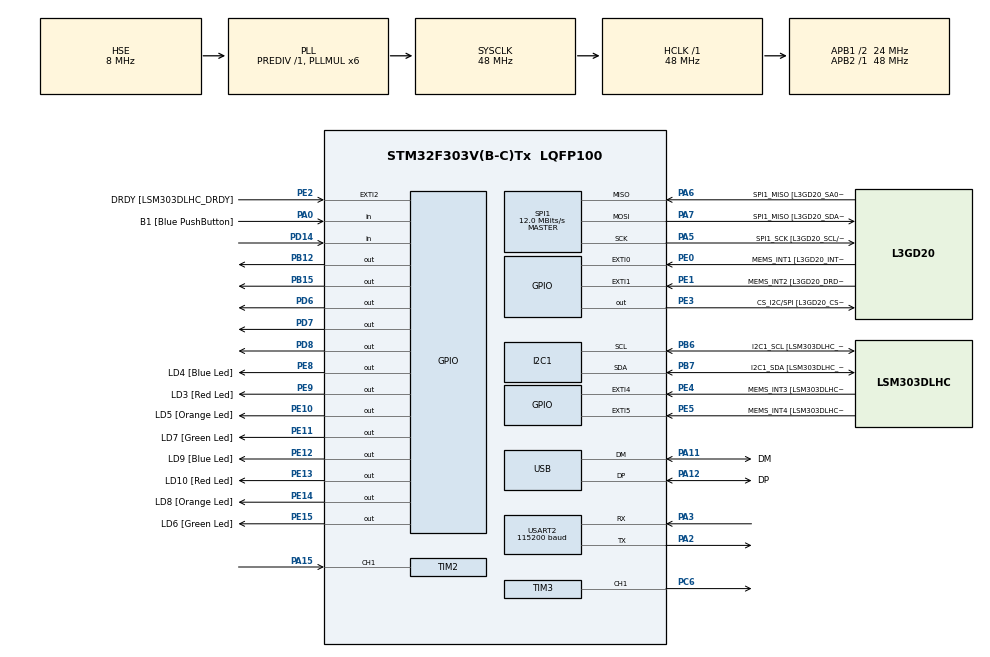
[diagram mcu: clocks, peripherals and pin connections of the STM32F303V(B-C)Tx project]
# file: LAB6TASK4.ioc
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I2C1.Timing=0x00201D2B
I2C1.Timing-I2C=0x2000090E
Mcu.Family=STM32F3
Mcu.Name=STM32F303V(B-C)Tx
Mcu.Package=LQFP100
NVIC.PriorityGroup=NVIC_PRIORITYGROUP_0
NVIC.TIM2_IRQn=true\:0\:0\:false\:false\:true\:true\:true\:true
PA0.GPIO_Label=B1 [Blue PushButton]
PA0.Signal=GPIO_Input
PA11.GPIO_Label=DM
PA11.Mode=Device
PA11.Signal=USB_DM
PA12.GPIO_Label=DP
PA12.Mode=Device
PA12.Signal=USB_DP
PA13.GPIO_Label=SWDIO
PA13.Mode=Serial_Wire
PA13.Signal=SYS_JTMS-SWDIO
PA14.GPIO_Label=SWCLK
PA14.Mode=Serial_Wire
PA14.Signal=SYS_JTCK-SWCLK
PA15.Signal=S_TIM2_CH1_ETR
PA2.Mode=Asynchronous
PA2.Signal=USART2_TX
PA3.Mode=Asynchronous
PA3.Signal=USART2_RX
PA5.GPIO_Label=SPI1_SCK [L3GD20_SCL/SPC]
PA5.Mode=Full_Duplex_Master
PA5.Signal=SPI1_SCK
PA6.GPIO_Label=SPI1_MISO [L3GD20_SA0/SDO]
PA6.Mode=Full_Duplex_Master
PA6.Signal=SPI1_MISO
PA7.GPIO_Label=SPI1_MISO [L3GD20_SDA/SDI/SDO]
PA7.Mode=Full_Duplex_Master
PA7.Signal=SPI1_MOSI
PB12.Signal=GPIO_Output
PB15.Signal=GPIO_Output
PB3.GPIO_Label=SWO
PB3.Signal=SYS_JTDO-TRACESWO
PB6.GPIO_Label=I2C1_SCL [LSM303DLHC_SCL]
PB6.GPIO_Pu=GPIO_PULLUP
PB6.Mode=I2C
PB6.Signal=I2C1_SCL
PB7.GPIO_Label=I2C1_SDA [LSM303DLHC_SDA]
PB7.GPIO_Pu=GPIO_PULLUP
PB7.Mode=I2C
PB7.Signal=I2C1_SDA
PC14-OSC32_IN.GPIO_Label=OSC32_IN
PC14-OSC32_IN.Signal=RCC_OSC32_IN
PC15-OSC32_OUT.GPIO_Label=OSC32_OUT
PC15-OSC32_OUT.Signal=RCC_OSC32_OUT
PC6.Signal=S_TIM3_CH1
PD14.Signal=GPIO_Input
PD6.Signal=GPIO_Output
PD7.Signal=GPIO_Output
PD8.Signal=GPIO_Output
PE0.GPIO_Label=MEMS_INT1 [L3GD20_INT1]
PE0.GPIO_ModeDefaultEXTI=GPIO_MODE_EVT_RISING
PE0.Signal=GPXTI0
PE1.GPIO_Label=MEMS_INT2 [L3GD20_DRDY/INT2]
PE1.GPIO_ModeDefaultEXTI=GPIO_MODE_EVT_RISING
PE1.Signal=GPXTI1
PE10.GPIO_Label=LD5 [Orange Led]
PE10.Signal=GPIO_Output
PE11.GPIO_Label=LD7 [Green Led]
PE11.Signal=GPIO_Output
PE12.GPIO_Label=LD9 [Blue Led]
PE12.Signal=GPIO_Output
PE13.GPIO_Label=LD10 [Red Led]
PE13.Signal=GPIO_Output
PE14.GPIO_Label=LD8 [Orange Led]
PE14.Signal=GPIO_Output
PE15.GPIO_Label=LD6 [Green Led]
PE15.Signal=GPIO_Output
PE2.GPIO_Label=DRDY [LSM303DLHC_DRDY]
PE2.GPIO_ModeDefaultEXTI=GPIO_MODE_EVT_RISING
PE2.Signal=GPXTI2
PE3.GPIO_Label=CS_I2C/SPI [L3GD20_CS_I2C/SPI]
PE3.Signal=GPIO_Output
PE4.GPIO_Label=MEMS_INT3 [LSM303DLHC_INT1]
PE4.GPIO_ModeDefaultEXTI=GPIO_MODE_EVT_RISING
PE4.Signal=GPXTI4
PE5.GPIO_Label=MEMS_INT4 [LSM303DLHC_INT2]
PE5.GPIO_ModeDefaultEXTI=GPIO_MODE_EVT_RISING
PE5.Signal=GPXTI5
PE8.GPIO_Label=LD4 [Blue Led]
PE8.Signal=GPIO_Output
PE9.GPIO_Label=LD3 [Red Led]
PE9.Signal=GPIO_Output
PF0-OSC_IN.GPIO_Label=OSC_IN
PF0-OSC_IN.Mode=HSE-External-Clock-Source
PF0-OSC_IN.Signal=RCC_OSC_IN
PF1-OSC_OUT.GPIO_Label=OSC_OUT
PF1-OSC_OUT.Signal=RCC_OSC_OUT
ProjectManager.HeapSize=0x200
ProjectManager.StackSize=0x400
ProjectManager.TargetToolchain=CMake
RCC.AHBFreq_Value=48000000
RCC.APB1CLKDivider=RCC_HCLK_DIV2
RCC.APB1Freq_Value=24000000
RCC.APB1TimFreq_Value=48000000
RCC.APB2Freq_Value=48000000
RCC.APB2TimFreq_Value=48000000
RCC.CortexFreq_Value=48000000
RCC.HCLKFreq_Value=48000000
RCC.HSE_VALUE=8000000
RCC.HSI_VALUE=8000000
RCC.LSE_VALUE=32768
RCC.PLLMUL=RCC_PLL_MUL6
RCC.SYSCLKFreq_VALUE=48000000
RCC.SYSCLKSourceVirtual=RCC_SYSCLKSOURCE_PLLCLK
RCC.USBFreq_Value=48000000
SH.S_TIM2_CH1_ETR.0=TIM2_CH1,Input_Capture1_from_TI1
SH.S_TIM3_CH1.0=TIM3_CH1,PWM Generation1 CH1
SPI1.BaudRatePrescaler=SPI_BAUDRATEPRESCALER_4
SPI1.BaudRatePrescaler-Full_Duplex_Master=SPI_BAUDRATEPRESCALER_2
SPI1.CalculateBaudRate=12.0 MBits/s
SPI1.CalculateBaudRate-Full_Duplex_Master=24.0 MBits/s
SPI1.Direction=SPI_DIRECTION_2LINES
SPI1.Mode=SPI_MODE_MASTER
SPI1.Mode-Full_Duplex_Master=SPI_MODE_MASTER
SPI1.VirtualType=VM_MASTER
TIM2.Channel-Input_Capture1_from_TI1=TIM_CHANNEL_1
TIM2.Period=65535
TIM3.Channel-PWM\ Generation1\ CH1=TIM_CHANNEL_1
TIM3.Period=999
TIM3.Prescaler=47
USART2.BaudRate=115200
USART2.VirtualMode-Asynchronous=VM_ASYNC
board=STM32F3DISCOVERY

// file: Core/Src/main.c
/* USER CODE BEGIN Header */
/**
  ******************************************************************************
  * @file           : main.c
  * @brief          : Main program body
  ******************************************************************************
  * @attention
  *
  * Copyright (c) 2026 STMicroelectronics.
  * All rights reserved.
  *
  * This software is licensed under terms that can be found in the LICENSE file
  * in the root directory of this software component.
  * If no LICENSE file comes with this software, it is provided AS-IS.
  *
  ******************************************************************************
  */
/* USER CODE END Header */
#include "main.h"
#include <stdio.h>

I2C_HandleTypeDef hi2c1;

SPI_HandleTypeDef hspi1;

TIM_HandleTypeDef htim2;
TIM_HandleTypeDef htim3;

UART_HandleTypeDef huart2;

PCD_HandleTypeDef hpcd_USB_FS;

/* USER CODE BEGIN PV */
uint32_t IC_Val1 = 0;
uint32_t IC_Val2 = 0;
uint32_t Difference = 0;
uint8_t Is_First_Captured = 0;

uint32_t frequency = 0;
uint32_t rpm = 0;

#define PPR 330

/* USER CODE END PV */

void SystemClock_Config(void);
static void MX_GPIO_Init(void);
static void MX_I2C1_Init(void);
static void MX_SPI1_Init(void);
static void MX_TIM2_Init(void);
static void MX_TIM3_Init(void);
static void MX_USART2_UART_Init(void);
static void MX_USB_PCD_Init(void);

/* USER CODE BEGIN 0 */
char uart_buffer[100];

int _write(int file, char *ptr, int len)
{
    HAL_UART_Transmit(&huart2, (uint8_t*)ptr, len, HAL_MAX_DELAY);
    return len;
}
/* USER CODE END 0 */

void HAL_TIM_IC_CaptureCallback(TIM_HandleTypeDef *htim)
{
  if (htim->Instance == TIM2)
  {
    if (Is_First_Captured == 0)
    {
      IC_Val1 = HAL_TIM_ReadCapturedValue(htim, TIM_CHANNEL_1);
      Is_First_Captured = 1;
    }
    else
    {
      IC_Val2 = HAL_TIM_ReadCapturedValue(htim, TIM_CHANNEL_1);

      if (IC_Val2 > IC_Val1)
        Difference = IC_Val2 - IC_Val1;
      else
        Difference = (0xFFFF - IC_Val1) + IC_Val2;

      // YOUR CLOCK IS 48 MHz
      frequency = (48000000UL / Difference) / 10;

      rpm = (60UL * frequency) / PPR;

      Is_First_Captured = 0;
    }
  }
}

int main(void)
{

  /* MCU Configuration--------------------------------------------------------*/

  /* Reset of all peripherals, Initializes the Flash interface and the Systick. */
  HAL_Init();

  /* Configure the system clock */
  SystemClock_Config();

  /* Initialize all configured peripherals */
  MX_GPIO_Init();
  MX_I2C1_Init();
  MX_SPI1_Init();
  MX_TIM2_Init();
  MX_TIM3_Init();
  MX_USART2_UART_Init();
  MX_USB_PCD_Init();
  /* USER CODE BEGIN 2 */
  // Start PWM (TIM3)
  HAL_TIM_PWM_Start(&htim3, TIM_CHANNEL_1);

  // Set initial duty cycle (50%)
  __HAL_TIM_SET_COMPARE(&htim3, TIM_CHANNEL_1, 500);

  // Start Input Capture (TIM2)
  HAL_TIM_IC_Start_IT(&htim2, TIM_CHANNEL_1);

  // Set motor direction (adjust if needed)
  HAL_GPIO_WritePin(GPIOB, GPIO_PIN_12, GPIO_PIN_SET);
  HAL_GPIO_WritePin(GPIOD, GPIO_PIN_8, GPIO_PIN_RESET);
  /* USER CODE END 2 */

  /* Infinite loop */
  while (1)
  {

    /* USER CODE BEGIN 3 */
    printf("Freq: %lu Hz | RPM: %lu\r\n", frequency, rpm);
    HAL_Delay(500);
  }
  /* USER CODE END 3 */
}

void SystemClock_Config(void)
{
  RCC_OscInitTypeDef RCC_OscInitStruct = {0};
  RCC_ClkInitTypeDef RCC_ClkInitStruct = {0};
  RCC_PeriphCLKInitTypeDef PeriphClkInit = {0};

  /** Initializes the RCC Oscillators according to the specified parameters
  * in the RCC_OscInitTypeDef structure.
  */
  RCC_OscInitStruct.OscillatorType = RCC_OSCILLATORTYPE_HSI|RCC_OSCILLATORTYPE_HSE;
  RCC_OscInitStruct.HSEState = RCC_HSE_BYPASS;
  RCC_OscInitStruct.HSEPredivValue = RCC_HSE_PREDIV_DIV1;
  RCC_OscInitStruct.HSIState = RCC_HSI_ON;
  RCC_OscInitStruct.HSICalibrationValue = RCC_HSICALIBRATION_DEFAULT;
  RCC_OscInitStruct.PLL.PLLState = RCC_PLL_ON;
  RCC_OscInitStruct.PLL.PLLSource = RCC_PLLSOURCE_HSE;
  RCC_OscInitStruct.PLL.PLLMUL = RCC_PLL_MUL6;
  if (HAL_RCC_OscConfig(&RCC_OscInitStruct) != HAL_OK)
  {
    Error_Handler();
  }

  /** Initializes the CPU, AHB and APB buses clocks
  */
  RCC_ClkInitStruct.ClockType = RCC_CLOCKTYPE_HCLK|RCC_CLOCKTYPE_SYSCLK
                              |RCC_CLOCKTYPE_PCLK1|RCC_CLOCKTYPE_PCLK2;
  RCC_ClkInitStruct.SYSCLKSource = RCC_SYSCLKSOURCE_PLLCLK;
  RCC_ClkInitStruct.AHBCLKDivider = RCC_SYSCLK_DIV1;
  RCC_ClkInitStruct.APB1CLKDivider = RCC_HCLK_DIV2;
  RCC_ClkInitStruct.APB2CLKDivider = RCC_HCLK_DIV1;

  if (HAL_RCC_ClockConfig(&RCC_ClkInitStruct, FLASH_LATENCY_1) != HAL_OK)
  {
    Error_Handler();
  }
  PeriphClkInit.PeriphClockSelection = RCC_PERIPHCLK_USB|RCC_PERIPHCLK_USART2
                              |RCC_PERIPHCLK_I2C1;
  PeriphClkInit.Usart2ClockSelection = RCC_USART2CLKSOURCE_PCLK1;
  PeriphClkInit.I2c1ClockSelection = RCC_I2C1CLKSOURCE_HSI;
  PeriphClkInit.USBClockSelection = RCC_USBCLKSOURCE_PLL;
  if (HAL_RCCEx_PeriphCLKConfig(&PeriphClkInit) != HAL_OK)
  {
    Error_Handler();
  }
}

static void MX_I2C1_Init(void)
{

  hi2c1.Instance = I2C1;
  hi2c1.Init.Timing = 0x00201D2B;
  hi2c1.Init.OwnAddress1 = 0;
  hi2c1.Init.AddressingMode = I2C_ADDRESSINGMODE_7BIT;
  hi2c1.Init.DualAddressMode = I2C_DUALADDRESS_DISABLE;
  hi2c1.Init.OwnAddress2 = 0;
  hi2c1.Init.OwnAddress2Masks = I2C_OA2_NOMASK;
  hi2c1.Init.GeneralCallMode = I2C_GENERALCALL_DISABLE;
  hi2c1.Init.NoStretchMode = I2C_NOSTRETCH_DISABLE;
  if (HAL_I2C_Init(&hi2c1) != HAL_OK)
  {
    Error_Handler();
  }

  /** Configure Analogue filter
  */
  if (HAL_I2CEx_ConfigAnalogFilter(&hi2c1, I2C_ANALOGFILTER_ENABLE) != HAL_OK)
  {
    Error_Handler();
  }

  /** Configure Digital filter
  */
  if (HAL_I2CEx_ConfigDigitalFilter(&hi2c1, 0) != HAL_OK)
  {
    Error_Handler();
  }

}

static void MX_SPI1_Init(void)
{

  /* SPI1 parameter configuration*/
  hspi1.Instance = SPI1;
  hspi1.Init.Mode = SPI_MODE_MASTER;
  hspi1.Init.Direction = SPI_DIRECTION_2LINES;
  hspi1.Init.DataSize = SPI_DATASIZE_4BIT;
  hspi1.Init.CLKPolarity = SPI_POLARITY_LOW;
  hspi1.Init.CLKPhase = SPI_PHASE_1EDGE;
  hspi1.Init.NSS = SPI_NSS_SOFT;
  hspi1.Init.BaudRatePrescaler = SPI_BAUDRATEPRESCALER_4;
  hspi1.Init.FirstBit = SPI_FIRSTBIT_MSB;
  hspi1.Init.TIMode = SPI_TIMODE_DISABLE;
  hspi1.Init.CRCCalculation = SPI_CRCCALCULATION_DISABLE;
  hspi1.Init.CRCPolynomial = 7;
  hspi1.Init.CRCLength = SPI_CRC_LENGTH_DATASIZE;
  hspi1.Init.NSSPMode = SPI_NSS_PULSE_ENABLE;
  if (HAL_SPI_Init(&hspi1) != HAL_OK)
  {
    Error_Handler();
  }

}

static void MX_TIM2_Init(void)
{

  TIM_MasterConfigTypeDef sMasterConfig = {0};
  TIM_IC_InitTypeDef sConfigIC = {0};

  htim2.Instance = TIM2;
  htim2.Init.Prescaler = 0;
  htim2.Init.CounterMode = TIM_COUNTERMODE_UP;
  htim2.Init.Period = 65535;
  htim2.Init.ClockDivision = TIM_CLOCKDIVISION_DIV1;
  htim2.Init.AutoReloadPreload = TIM_AUTORELOAD_PRELOAD_DISABLE;
  if (HAL_TIM_IC_Init(&htim2) != HAL_OK)
  {
    Error_Handler();
  }
  sMasterConfig.MasterOutputTrigger = TIM_TRGO_RESET;
  sMasterConfig.MasterSlaveMode = TIM_MASTERSLAVEMODE_DISABLE;
  if (HAL_TIMEx_MasterConfigSynchronization(&htim2, &sMasterConfig) != HAL_OK)
  {
    Error_Handler();
  }
  sConfigIC.ICPolarity = TIM_INPUTCHANNELPOLARITY_RISING;
  sConfigIC.ICSelection = TIM_ICSELECTION_DIRECTTI;
  sConfigIC.ICPrescaler = TIM_ICPSC_DIV1;
  sConfigIC.ICFilter = 0;
  if (HAL_TIM_IC_ConfigChannel(&htim2, &sConfigIC, TIM_CHANNEL_1) != HAL_OK)
  {
    Error_Handler();
  }

}

static void MX_TIM3_Init(void)
{

  TIM_MasterConfigTypeDef sMasterConfig = {0};
  TIM_OC_InitTypeDef sConfigOC = {0};

  htim3.Instance = TIM3;
  htim3.Init.Prescaler = 47;
  htim3.Init.CounterMode = TIM_COUNTERMODE_UP;
  htim3.Init.Period = 999;
  htim3.Init.ClockDivision = TIM_CLOCKDIVISION_DIV1;
  htim3.Init.AutoReloadPreload = TIM_AUTORELOAD_PRELOAD_DISABLE;
  if (HAL_TIM_PWM_Init(&htim3) != HAL_OK)
  {
    Error_Handler();
  }
  sMasterConfig.MasterOutputTrigger = TIM_TRGO_RESET;
  sMasterConfig.MasterSlaveMode = TIM_MASTERSLAVEMODE_DISABLE;
  if (HAL_TIMEx_MasterConfigSynchronization(&htim3, &sMasterConfig) != HAL_OK)
  {
    Error_Handler();
  }
  sConfigOC.OCMode = TIM_OCMODE_PWM1;
  sConfigOC.Pulse = 0;
  sConfigOC.OCPolarity = TIM_OCPOLARITY_HIGH;
  sConfigOC.OCFastMode = TIM_OCFAST_DISABLE;
  if (HAL_TIM_PWM_ConfigChannel(&htim3, &sConfigOC, TIM_CHANNEL_1) != HAL_OK)
  {
    Error_Handler();
  }
  HAL_TIM_MspPostInit(&htim3);

}

static void MX_USART2_UART_Init(void)
{

  huart2.Instance = USART2;
  huart2.Init.BaudRate = 115200;
  huart2.Init.WordLength = UART_WORDLENGTH_8B;
  huart2.Init.StopBits = UART_STOPBITS_1;
  huart2.Init.Parity = UART_PARITY_NONE;
  huart2.Init.Mode = UART_MODE_TX_RX;
  huart2.Init.HwFlowCtl = UART_HWCONTROL_NONE;
  huart2.Init.OverSampling = UART_OVERSAMPLING_16;
  huart2.Init.OneBitSampling = UART_ONE_BIT_SAMPLE_DISABLE;
  huart2.AdvancedInit.AdvFeatureInit = UART_ADVFEATURE_NO_INIT;
  if (HAL_UART_Init(&huart2) != HAL_OK)
  {
    Error_Handler();
  }

}

static void MX_USB_PCD_Init(void)
{

  hpcd_USB_FS.Instance = USB;
  hpcd_USB_FS.Init.dev_endpoints = 8;
  hpcd_USB_FS.Init.speed = PCD_SPEED_FULL;
  hpcd_USB_FS.Init.phy_itface = PCD_PHY_EMBEDDED;
  hpcd_USB_FS.Init.low_power_enable = DISABLE;
  hpcd_USB_FS.Init.battery_charging_enable = DISABLE;
  if (HAL_PCD_Init(&hpcd_USB_FS) != HAL_OK)
  {
    Error_Handler();
  }

}

static void MX_GPIO_Init(void)
{
  GPIO_InitTypeDef GPIO_InitStruct = {0};

  /* GPIO Ports Clock Enable */
  __HAL_RCC_GPIOE_CLK_ENABLE();
  __HAL_RCC_GPIOC_CLK_ENABLE();
  __HAL_RCC_GPIOF_CLK_ENABLE();
  __HAL_RCC_GPIOA_CLK_ENABLE();
  __HAL_RCC_GPIOB_CLK_ENABLE();
  __HAL_RCC_GPIOD_CLK_ENABLE();

  /*Configure GPIO pin Output Level */
  HAL_GPIO_WritePin(GPIOE, CS_I2C_SPI_Pin|LD4_Pin|LD3_Pin|LD5_Pin
                          |LD7_Pin|LD9_Pin|LD10_Pin|LD8_Pin
                          |LD6_Pin, GPIO_PIN_RESET);

  /*Configure GPIO pin Output Level */
  HAL_GPIO_WritePin(GPIOB, GPIO_PIN_12|GPIO_PIN_15, GPIO_PIN_RESET);

  /*Configure GPIO pin Output Level */
  HAL_GPIO_WritePin(GPIOD, GPIO_PIN_8|GPIO_PIN_6|GPIO_PIN_7, GPIO_PIN_RESET);

  /*Configure GPIO pins : DRDY_Pin MEMS_INT3_Pin MEMS_INT4_Pin MEMS_INT1_Pin
                           MEMS_INT2_Pin */
  GPIO_InitStruct.Pin = DRDY_Pin|MEMS_INT3_Pin|MEMS_INT4_Pin|MEMS_INT1_Pin
                          |MEMS_INT2_Pin;
  GPIO_InitStruct.Mode = GPIO_MODE_EVT_RISING;
  GPIO_InitStruct.Pull = GPIO_NOPULL;
  HAL_GPIO_Init(GPIOE, &GPIO_InitStruct);

  /*Configure GPIO pins : CS_I2C_SPI_Pin LD4_Pin LD3_Pin LD5_Pin
                           LD7_Pin LD9_Pin LD10_Pin LD8_Pin
                           LD6_Pin */
  GPIO_InitStruct.Pin = CS_I2C_SPI_Pin|LD4_Pin|LD3_Pin|LD5_Pin
                          |LD7_Pin|LD9_Pin|LD10_Pin|LD8_Pin
                          |LD6_Pin;
  GPIO_InitStruct.Mode = GPIO_MODE_OUTPUT_PP;
  GPIO_InitStruct.Pull = GPIO_NOPULL;
  GPIO_InitStruct.Speed = GPIO_SPEED_FREQ_LOW;
  HAL_GPIO_Init(GPIOE, &GPIO_InitStruct);

  /*Configure GPIO pin : B1_Pin */
  GPIO_InitStruct.Pin = B1_Pin;
  GPIO_InitStruct.Mode = GPIO_MODE_INPUT;
  GPIO_InitStruct.Pull = GPIO_NOPULL;
  HAL_GPIO_Init(B1_GPIO_Port, &GPIO_InitStruct);

  /*Configure GPIO pins : PB12 PB15 */
  GPIO_InitStruct.Pin = GPIO_PIN_12|GPIO_PIN_15;
  GPIO_InitStruct.Mode = GPIO_MODE_OUTPUT_PP;
  GPIO_InitStruct.Pull = GPIO_NOPULL;
  GPIO_InitStruct.Speed = GPIO_SPEED_FREQ_LOW;
  HAL_GPIO_Init(GPIOB, &GPIO_InitStruct);

  /*Configure GPIO pins : PD8 PD6 PD7 */
  GPIO_InitStruct.Pin = GPIO_PIN_8|GPIO_PIN_6|GPIO_PIN_7;
  GPIO_InitStruct.Mode = GPIO_MODE_OUTPUT_PP;
  GPIO_InitStruct.Pull = GPIO_NOPULL;
  GPIO_InitStruct.Speed = GPIO_SPEED_FREQ_LOW;
  HAL_GPIO_Init(GPIOD, &GPIO_InitStruct);

  /*Configure GPIO pin : PD14 */
  GPIO_InitStruct.Pin = GPIO_PIN_14;
  GPIO_InitStruct.Mode = GPIO_MODE_INPUT;
  GPIO_InitStruct.Pull = GPIO_NOPULL;
  HAL_GPIO_Init(GPIOD, &GPIO_InitStruct);

}

void Error_Handler(void)
{
  __disable_irq();
  while (1)
  {
  }
}
